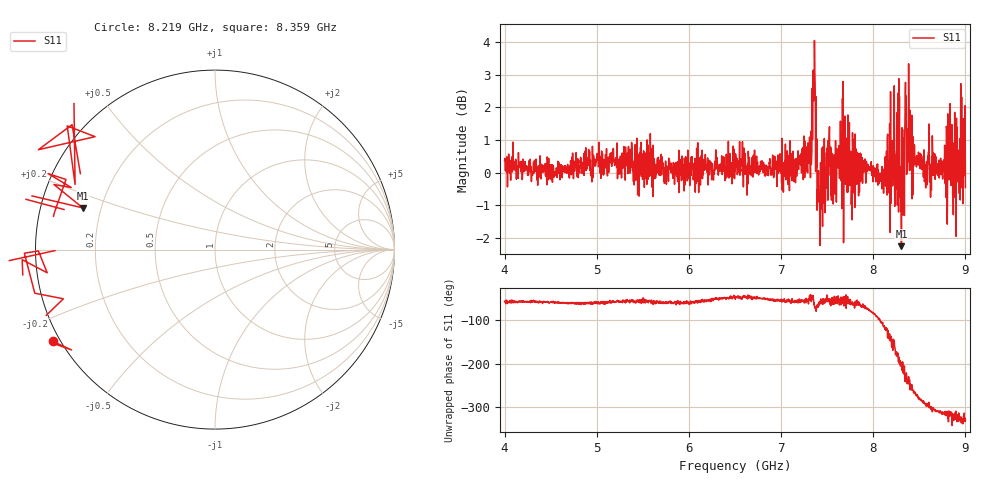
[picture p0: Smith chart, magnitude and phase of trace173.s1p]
! Created with skrf 1.8.0 (http://scikit-rf.org).
# Hz S RI R 50.0
!freq ReS11 ImS11
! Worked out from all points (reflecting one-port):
!   1601 points, 4 GHz to 9 GHz, reference 50 ohm
!   lowest |S11| = -2.2 dB at 8.306 GHz (marker M1), VSWR 7.77, Z = 6.59 + j7.57 ohm
!   phase of S11 starts at -57 deg and turns -272 deg over the sweep
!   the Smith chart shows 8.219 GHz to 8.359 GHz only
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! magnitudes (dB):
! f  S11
! 4 GHz  0.4
! 4.625 GHz  -0.2
! 5.25 GHz  0.0
! 5.875 GHz  0.0
! 6.5 GHz  0.1
! 7.125 GHz  0.4
! 7.306 GHz  0.4
! 7.347 GHz  3.1
! 7.369 GHz  2.8
! 7.4 GHz  -0.3
! 7.428 GHz  0.3
! 7.512 GHz  1.0
! 7.562 GHz  -0.4
! 7.669 GHz  1.0
! 7.75 GHz  0.1
! 8.088 GHz  -0.3
! 8.253 GHz  0.7
! 8.306 GHz  -2.2
! 8.316 GHz  0.9
! 8.334 GHz  0.6
! 8.375 GHz  0.8
! 8.447 GHz  0.8
! 8.556 GHz  -0.3
! 8.781 GHz  -0.3
! 8.834 GHz  2.1
! 8.875 GHz  0.6
! 8.972 GHz  0.3
! 9 GHz  -0.5
